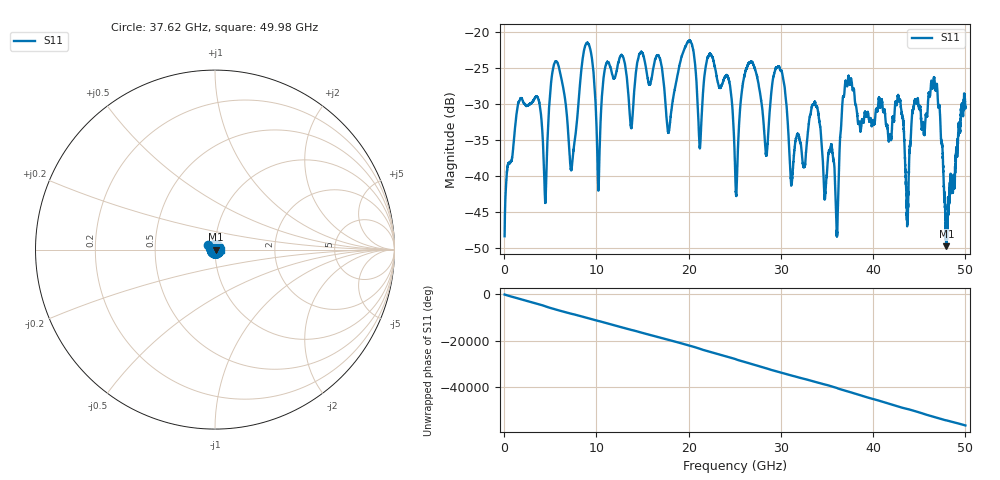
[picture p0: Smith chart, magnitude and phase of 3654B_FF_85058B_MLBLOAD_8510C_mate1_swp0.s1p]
!Created with skrf (http://scikit-rf.org).
# Hz S RI R 50.0
!freq ReS11 ImS11
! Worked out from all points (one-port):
!   10001 points, 45 MHz to 50 GHz, reference 50 ohm
!   lowest |S11| = -49.7 dB at 47.94 GHz (marker M1), VSWR 1.01, Z = 50.3 - j0.0492 ohm
!   |S11| at or under -10 dB: start of sweep to end of sweep
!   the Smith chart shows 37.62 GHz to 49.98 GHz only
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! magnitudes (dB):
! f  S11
! 45 MHz  -48.3
! 1.654 GHz  -29.5
! 4.446 GHz  -43.7
! 5.3 GHz  -25.1
! 6.289 GHz  -27.0
! 7.328 GHz  -38.7
! 9.152 GHz  -21.7
! 10.23 GHz  -41.8
! 12.53 GHz  -23.4
! 13.76 GHz  -33.3
! 14.79 GHz  -22.8
! 17.8 GHz  -33.9
! 18.78 GHz  -26.0
! 24.19 GHz  -26.0
! 25.02 GHz  -38.6
! 26.74 GHz  -24.1
! 28.4 GHz  -37.1
! 30 GHz  -25.3
! 31.27 GHz  -39.7
! 33.71 GHz  -29.7
! 36.06 GHz  -48.3
! 37.51 GHz  -27.1
! 42.83 GHz  -29.6
! 43.76 GHz  -45.7
! 44.43 GHz  -30.1
! 46.72 GHz  -27.7
! 47.94 GHz  -49.7
! 50 GHz  -30.3
